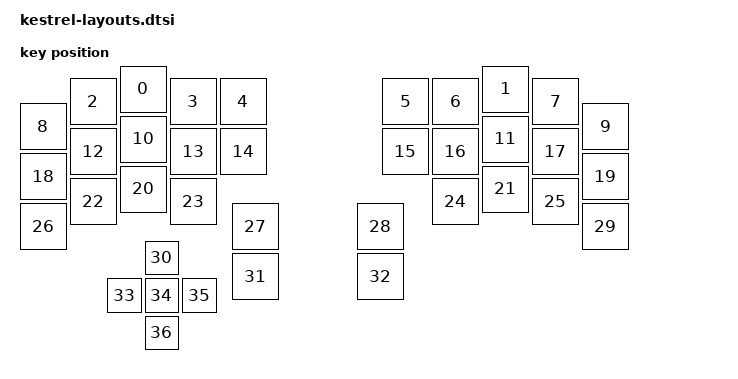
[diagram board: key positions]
#include <physical_layouts.dtsi>

/ {
    default_layout: default_layout {
        compatible = "zmk,physical-layout";
        display-name = "Kestrel Layout";

        keys  //                     w   h    x    y     rot    rx    ry
            = <&key_physical_attrs 100 100  200    0       0     0     0>
            , <&key_physical_attrs 100 100  925    0       0     0     0>
            , <&key_physical_attrs 100 100  100   25       0     0     0>
            , <&key_physical_attrs 100 100  300   25       0     0     0>
            , <&key_physical_attrs 100 100  400   25       0     0     0>
            , <&key_physical_attrs 100 100  725   25       0     0     0>
            , <&key_physical_attrs 100 100  825   25       0     0     0>
            , <&key_physical_attrs 100 100 1025   25       0     0     0>
            , <&key_physical_attrs 100 100    0   75       0     0     0>
            , <&key_physical_attrs 100 100 1125   75       0     0     0>
            , <&key_physical_attrs 100 100  200  100       0     0     0>
            , <&key_physical_attrs 100 100  925  100       0     0     0>
            , <&key_physical_attrs 100 100  100  125       0     0     0>
            , <&key_physical_attrs 100 100  300  125       0     0     0>
            , <&key_physical_attrs 100 100  400  125       0     0     0>
            , <&key_physical_attrs 100 100  725  125       0     0     0>
            , <&key_physical_attrs 100 100  825  125       0     0     0>
            , <&key_physical_attrs 100 100 1025  125       0     0     0>
            , <&key_physical_attrs 100 100    0  175       0     0     0>
            , <&key_physical_attrs 100 100 1125  175       0     0     0>
            , <&key_physical_attrs 100 100  200  200       0     0     0>
            , <&key_physical_attrs 100 100  925  200       0     0     0>
            , <&key_physical_attrs 100 100  100  225       0     0     0>
            , <&key_physical_attrs 100 100  300  225       0     0     0>
            , <&key_physical_attrs 100 100  825  225       0     0     0>
            , <&key_physical_attrs 100 100 1025  225       0     0     0>
            , <&key_physical_attrs 100 100    0  275       0     0     0>
            , <&key_physical_attrs 100 100  425  275       0     0     0>
            , <&key_physical_attrs 100 100  675  275       0     0     0>
            , <&key_physical_attrs 100 100 1125  275       0     0     0>
            , <&key_physical_attrs  75  75  250  350       0     0     0>
            , <&key_physical_attrs 100 100  425  375       0     0     0>
            , <&key_physical_attrs 100 100  675  375       0     0     0>
            , <&key_physical_attrs  75  75  175  425       0     0     0>
            , <&key_physical_attrs  75  75  250  425       0     0     0>
            , <&key_physical_attrs  75  75  325  425       0     0     0>
            , <&key_physical_attrs  75  75  250  500       0     0     0>
            ;
    };
};
